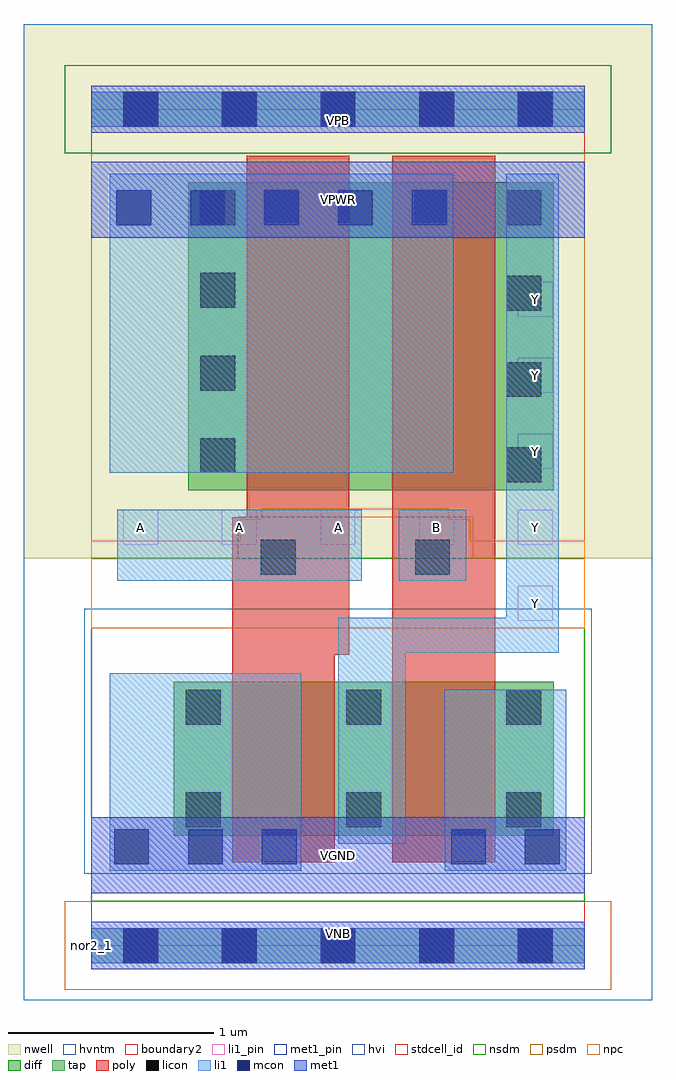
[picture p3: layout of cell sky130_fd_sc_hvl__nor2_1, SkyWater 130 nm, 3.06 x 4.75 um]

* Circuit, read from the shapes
.subckt sky130_fd_sc_hvl__nor2_1 A B VGND VNB VPB VPWR Y
XM1 Y A VGND VNB sky130_fd_pr__nfet_g5v0d10v5 w=0.75 l=0.5
XM2 VGND B Y VNB sky130_fd_pr__nfet_g5v0d10v5 w=0.75 l=0.5
XM3 n1 A VPWR VPB sky130_fd_pr__pfet_g5v0d10v5 w=1.5 l=0.5
XM4 Y B n1 VPB sky130_fd_pr__pfet_g5v0d10v5 w=1.5 l=0.5
.ends

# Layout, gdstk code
import gdstk
lib = gdstk.Library(unit=1e-6, precision=1e-09)
def R(c, l, rs):  # rectangles x0, y0, x1, y1
    for r in rs: c.add(gdstk.rectangle(r[:2], r[2:], *l))
def A(c, l, x, y, w, h, nx, ny, dx, dy):  # array of equal rectangles
    R(c, l, [(x+i*dx, y+j*dy, x+i*dx+w, y+j*dy+h) for i in range(nx) for j in range(ny)])
def P(c, l, *ps):  # polygons
    for p in ps: c.add(gdstk.Polygon(p, *l))
nwell = (64, 20)
diff = (65, 20)
tap = (65, 44)
poly = (66, 20)
licon = (66, 44)
li1_pin = (67, 16)
li1 = (67, 20)
mcon = (67, 44)
met1_pin = (68, 16)
met1 = (68, 20)
hvi = (75, 20)
stdcell_id = (81, 4)
nsdm = (93, 44)
psdm = (94, 20)
npc = (95, 20)
hvntm = (125, 20)
boundary2 = (236, 0)

sky130_fd_sc_hvl__nor2_1 = lib.new_cell('sky130_fd_sc_hvl__nor2_1')
R(sky130_fd_sc_hvl__nor2_1, nwell, [(-0.33,1.885,2.73,4.485)])
R(sky130_fd_sc_hvl__nor2_1, diff, [(0.4,0.535,2.25,1.285), (0.47,2.215,2.25,3.715)])
R(sky130_fd_sc_hvl__nor2_1, tap, [(0,-0.085,2.4,0.085), (0,3.985,2.4,4.155)])
R(sky130_fd_sc_hvl__nor2_1, poly, [(1.465,0.405,1.965,3.845)])
P(sky130_fd_sc_hvl__nor2_1, poly, [(0.685,0.405),(0.685,2.085),(0.755,2.085),(0.755,3.845),(1.255,3.845),(1.255,1.415),(1.185,1.415),(1.185,0.405)])
A(sky130_fd_sc_hvl__nor2_1, licon, 0.155, -0.085, 0.17, 0.17, 5, 2, 0.48, 4.07)
A(sky130_fd_sc_hvl__nor2_1, licon, 0.46, 0.575, 0.17, 0.17, 3, 2, 0.78, 0.5)
R(sky130_fd_sc_hvl__nor2_1, licon, [(0.825,1.805,0.995,1.975), (1.575,1.805,1.745,1.975), (2.02,2.255,2.19,2.425), (0.53,2.3,0.7,2.47), (2.02,2.67,2.19,2.84), (0.53,2.7,0.7,2.87), (2.02,3.09,2.19,3.26), (0.53,3.105,0.7,3.275), (0.53,3.505,0.7,3.675), (2.02,3.505,2.19,3.675)])
A(sky130_fd_sc_hvl__nor2_1, li1_pin, 0.155, 1.95, 0.17, 0.17, 5, 1, 0.48, 0)
A(sky130_fd_sc_hvl__nor2_1, li1_pin, 2.075, 2.32, 0.17, 0.17, 1, 3, 0, 0.37)
R(sky130_fd_sc_hvl__nor2_1, li1_pin, [(2.075,1.58,2.245,1.75)])
R(sky130_fd_sc_hvl__nor2_1, li1, [(0,-0.085,2.4,0.085), (0.09,0.365,1.02,1.325), (1.72,0.365,2.31,1.245), (0.125,1.775,1.315,2.12), (1.495,1.775,1.825,2.12), (0.09,2.3,1.76,3.755), (0,3.985,2.4,4.155)])
P(sky130_fd_sc_hvl__nor2_1, li1, [(1.2,0.495),(1.2,1.595),(2.02,1.595),(2.02,3.755),(2.275,3.755),(2.275,1.425),(1.53,1.425),(1.53,0.495)])
A(sky130_fd_sc_hvl__nor2_1, mcon, 0.11, 0.395, 0.17, 0.17, 3, 1, 0.36, 0)
A(sky130_fd_sc_hvl__nor2_1, mcon, 0.12, 3.505, 0.17, 0.17, 5, 1, 0.36, 0)
R(sky130_fd_sc_hvl__nor2_1, mcon, [(0.155,-0.085,0.325,0.085), (0.155,-0.085,0.325,0.085), (0.635,-0.085,0.805,0.085), (0.635,-0.085,0.805,0.085), (1.115,-0.085,1.285,0.085), (1.115,-0.085,1.285,0.085), (1.595,-0.085,1.765,0.085), (1.595,-0.085,1.765,0.085), (2.075,-0.085,2.245,0.085), (2.075,-0.085,2.245,0.085), (1.75,0.395,1.92,0.565), (2.11,0.395,2.28,0.565), (0.155,3.985,0.325,4.155), (0.155,3.985,0.325,4.155), (0.635,3.985,0.805,4.155), (0.635,3.985,0.805,4.155), (1.115,3.985,1.285,4.155), (1.115,3.985,1.285,4.155), (1.595,3.985,1.765,4.155), (1.595,3.985,1.765,4.155), (2.075,3.985,2.245,4.155), (2.075,3.985,2.245,4.155)])
R(sky130_fd_sc_hvl__nor2_1, met1_pin, [(0,0,2.4,0.115), (0,0.255,2.4,0.625), (0,3.445,2.4,3.815), (0,3.955,2.4,4.07)])
R(sky130_fd_sc_hvl__nor2_1, met1, [(0,-0.115,2.4,0.115), (0,0.255,2.4,0.625), (0,3.445,2.4,3.815), (0,3.955,2.4,4.185)])
R(sky130_fd_sc_hvl__nor2_1, hvi, [(-0.33,-0.265,2.73,4.485)])
R(sky130_fd_sc_hvl__nor2_1, stdcell_id, [(0,0,2.4,4.07)])
R(sky130_fd_sc_hvl__nor2_1, nsdm, [(0,0.215,2.4,1.885), (-0.13,3.855,2.53,4.285), (0,3.855,2.4,4.07)])
R(sky130_fd_sc_hvl__nor2_1, psdm, [(-0.13,-0.215,2.53,0.215)])
P(sky130_fd_sc_hvl__nor2_1, psdm, [(0,1.885),(0,3.855),(2.4,3.855),(2.4,1.885),(1.855,1.885),(1.855,2.085),(0.715,2.085),(0.715,1.885)])
P(sky130_fd_sc_hvl__nor2_1, npc, [(0,1.545),(0,1.97),(0.725,1.97),(0.725,2.075),(0.83,2.075),(0.83,2.125),(1.74,2.125),(1.74,2.075),(1.845,2.075),(1.845,1.97),(2.4,1.97),(2.4,1.545)])
R(sky130_fd_sc_hvl__nor2_1, hvntm, [(-0.035,0.35,2.435,1.64)])
R(sky130_fd_sc_hvl__nor2_1, boundary2, [(0,0,2.4,4.07)])
sky130_fd_sc_hvl__nor2_1.add(gdstk.Label('nor2_1', (0,0), layer=83, texttype=44))
sky130_fd_sc_hvl__nor2_1.add(gdstk.Label('VGND', (1.2,0.44), layer=68, texttype=5))
sky130_fd_sc_hvl__nor2_1.add(gdstk.Label('VNB', (1.2,0.058), layer=68, texttype=5))
sky130_fd_sc_hvl__nor2_1.add(gdstk.Label('VPWR', (1.2,3.63), layer=68, texttype=5))
sky130_fd_sc_hvl__nor2_1.add(gdstk.Label('VPB', (1.2,4.013), layer=68, texttype=5))
sky130_fd_sc_hvl__nor2_1.add(gdstk.Label('A', (0.24,2.035), layer=67, texttype=5))
sky130_fd_sc_hvl__nor2_1.add(gdstk.Label('A', (0.72,2.035), layer=67, texttype=5))
sky130_fd_sc_hvl__nor2_1.add(gdstk.Label('A', (1.2,2.035), layer=67, texttype=5))
sky130_fd_sc_hvl__nor2_1.add(gdstk.Label('B', (1.68,2.035), layer=67, texttype=5))
sky130_fd_sc_hvl__nor2_1.add(gdstk.Label('Y', (2.16,1.665), layer=67, texttype=5))
sky130_fd_sc_hvl__nor2_1.add(gdstk.Label('Y', (2.16,2.035), layer=67, texttype=5))
sky130_fd_sc_hvl__nor2_1.add(gdstk.Label('Y', (2.16,2.405), layer=67, texttype=5))
sky130_fd_sc_hvl__nor2_1.add(gdstk.Label('Y', (2.16,2.775), layer=67, texttype=5))
sky130_fd_sc_hvl__nor2_1.add(gdstk.Label('Y', (2.16,3.145), layer=67, texttype=5))

lib.write_gds('sky130_fd_sc_hvl__nor2_1.gds')
